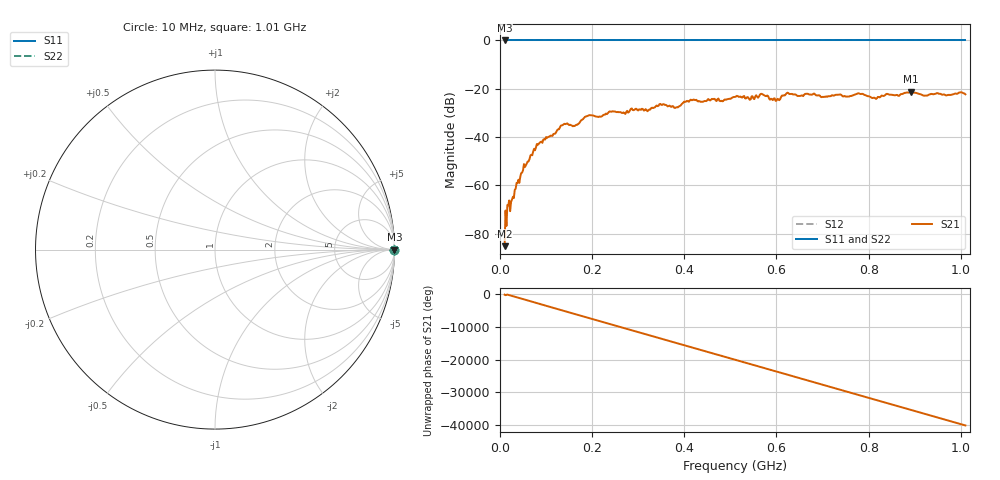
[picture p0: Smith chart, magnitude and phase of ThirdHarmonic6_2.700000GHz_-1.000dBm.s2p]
! 8/17/2025 6:27:43 AM
! C:\ANRITSUVNA\TEMP\TEMP.S2P
! CHANNEL.1
! TR.MEASUREMENT
! RAW.DATA
! RF.CORRECTION.OFF
! AVERAGING.OFF
! IF.BANDWIDTH: 5KHZ
! SWEEPTYPE:  FREQ.SWEEP(Linear)
! Reference Plane Port Info
! PORT:  PORT1  PORT2
! DISTANCE:  0  m  0  m
! TIME:  0  s  0  s
! PHASE.OFFSET:  0  deg.  0  deg.
! LOSS:  0  dB  0  dB
! REF.LOSS:  0  dB  0  dB
! REF.FREQ:  0  Hz  0  Hz
! Power Info
! POWER:  -20  dBm  -20  dBm
! EFF.POWER:  -20  dBm  -20  dBm
! SOURCE.ATTEN:  0  dB  0  dB
! TEST.ATTEN:  0  dB  0  dB
# GHZ S RI R 50.0
! FREQ.GHZ  S11RE  S11IM  S21RE  S21IM  S12RE  S12IM  S22RE  S22IM
!; PortSelection: Port_12
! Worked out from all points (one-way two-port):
!   501 points, 10 MHz to 1.01 GHz, reference 50 ohm
!   highest |S21| = -21.26 dB at 892 MHz (marker M1); lowest = -85.1 dB at 10 MHz (marker M2)
!   lowest |S11| = 0.0 dB at 10 MHz (marker M3)
!   |S11| at or under -10 dB: nowhere
!   |S22| runs from 0.0 to 0.0 dB; largest |S21 - S12| = 1.1
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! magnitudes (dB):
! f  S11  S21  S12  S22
! 10 MHz  0.0  -85.1  0.0  0.0
! 16 MHz  0.0  -68.1  0.0  0.0
! 26 MHz  0.0  -65.9  0.0  0.0
! 36 MHz  0.0  -58.9  0.0  0.0
! 78 MHz  0.0  -44.3  0.0  0.0
! 136 MHz  0.0  -35.0  0.0  0.0
! 162 MHz  0.0  -35.4  0.0  0.0
! 178 MHz  0.0  -32.8  0.0  0.0
! 344 MHz  0.0  -27.0  0.0  0.0
! 382 MHz  0.0  -27.7  0.0  0.0
! 416 MHz  0.0  -24.7  0.0  0.0
! 480 MHz  0.0  -24.9  0.0  0.0
! 510 MHz  0.0  -23.4  0.0  0.0
! 568 MHz  0.0  -22.1  0.0  0.0
! 602 MHz  0.0  -24.2  0.0  0.0
! 624 MHz  0.0  -21.6  0.0  0.0
! 678 MHz  0.0  -22.4  0.0  0.0
! 782 MHz  0.0  -22.2  0.0  0.0
! 814 MHz  0.0  -23.9  0.0  0.0
! 844 MHz  0.0  -22.4  0.0  0.0
! 892 MHz  0.0  -21.3  0.0  0.0
! 1.01 GHz  0.0  -22.3  0.0  0.0
